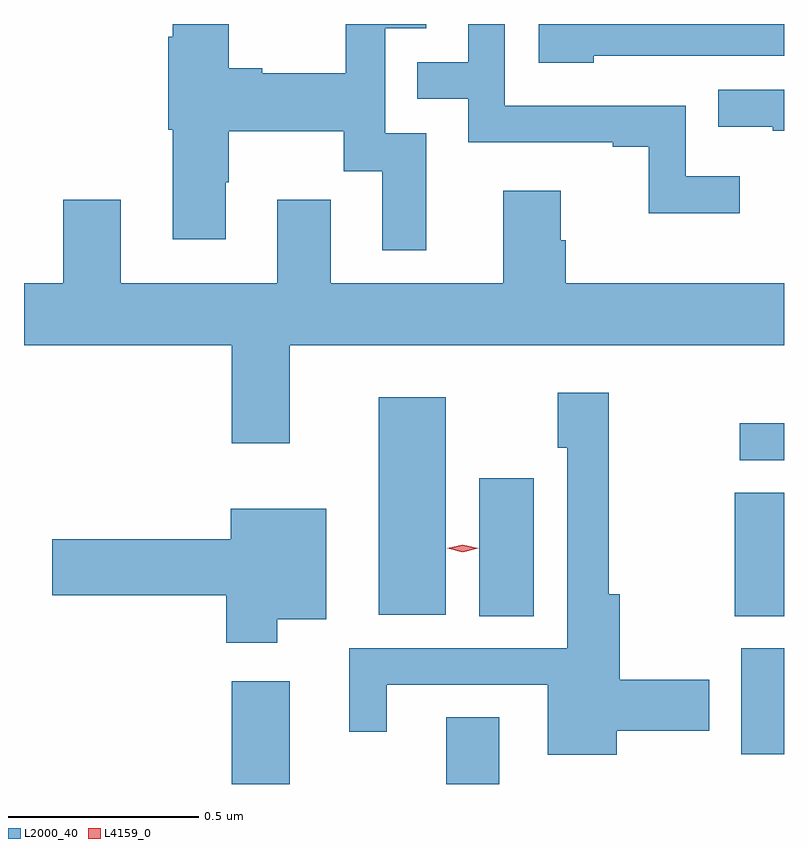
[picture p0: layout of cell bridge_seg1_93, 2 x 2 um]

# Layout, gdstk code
import gdstk
lib = gdstk.Library(unit=1e-6, precision=1e-09)
def R(c, l, rs):  # rectangles x0, y0, x1, y1
    for r in rs: c.add(gdstk.rectangle(r[:2], r[2:], *l))
def P(c, l, *ps):  # polygons
    for p in ps: c.add(gdstk.Polygon(p, *l))
L2000_40 = (2000, 40)
L4159_0 = (4159, 0)

bridge_seg1_93 = lib.new_cell('bridge_seg1_93')
R(bridge_seg1_93, L2000_40, [(185.345,509.286,185.497,509.557), (185.909,509.286,186.049,509.462), (186.686,509.364,186.798,509.643), (185.996,509.728,186.139,510.091), (186.668,509.728,186.798,510.053), (185.732,509.732,185.908,510.304), (186.681,510.138,186.798,510.236)])
P(bridge_seg1_93, L2000_40, [(186.682,510.886),(186.54,510.886),(186.54,511.071),(186.063,511.071),(186.063,511.286),(185.967,511.286),(185.967,511.185),(185.833,511.185),(185.833,511.089),(185.967,511.089),(185.967,510.975),(186.347,510.975),(186.347,510.963),(186.442,510.963),(186.442,510.788),(186.682,510.788)],
  [(186.297,511.202),(186.533,511.202),(186.533,511.203),(186.798,511.203),(186.798,511.286),(186.153,511.286),(186.153,511.184),(186.297,511.184)],
  [(185.857,510.999),(185.748,510.999),(185.748,511.275),(185.857,511.275),(185.857,511.286),(185.645,511.286),(185.645,511.156),(185.425,511.156),(185.425,511.169),(185.337,511.169),(185.337,511.286),(185.189,511.286),(185.189,511.252),(185.177,511.252),(185.177,511.008),(185.189,511.008),(185.189,510.72),(185.329,510.72),(185.329,510.87),(185.337,510.87),(185.337,511.004),(185.64,511.004),(185.64,510.898),(185.741,510.898),(185.741,510.69),(185.857,510.69)],
  [(186.798,511.113),(186.625,511.113),(186.625,511.016),(186.769,511.016),(186.769,511.005),(186.798,511.005)],
  [(186.059,510.847),(186.059,510.604),(185.605,510.604),(185.605,510.823),(185.465,510.823),(185.465,510.604),(185.053,510.604),(185.053,510.823),(184.901,510.823),(184.901,510.604),(184.798,510.604),(184.798,510.44),(185.345,510.44),(185.345,510.183),(185.497,510.183),(185.497,510.44),(186.798,510.44),(186.798,510.604),(186.224,510.604),(186.224,510.717),(186.211,510.717),(186.211,510.847)],
  [(186.358,509.426),(186.601,509.426),(186.601,509.561),(186.366,509.561),(186.366,509.785),(186.337,509.785),(186.337,510.316),(186.202,510.316),(186.202,510.171),(186.228,510.171),(186.228,509.643),(185.654,509.643),(185.654,509.424),(185.752,509.424),(185.752,509.547),(186.176,509.547),(186.176,509.363),(186.358,509.363)],
  [(185.464,509.72),(185.593,509.72),(185.593,510.01),(185.342,510.01),(185.342,509.93),(184.872,509.93),(184.872,509.783),(185.33,509.783),(185.33,509.658),(185.464,509.658)])
P(bridge_seg1_93, L4159_0, [(185.953,509.896),(185.912,509.906),(185.912,509.906),(185.912,509.906),(185.953,509.916),(185.993,509.906),(185.993,509.906),(185.993,509.906)])

lib.write_gds('bridge_seg1_93.gds')
